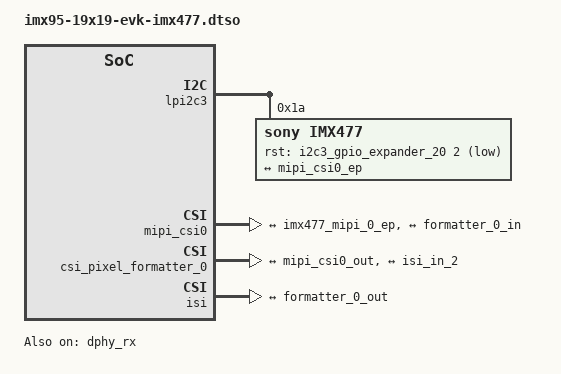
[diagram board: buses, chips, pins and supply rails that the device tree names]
// SPDX-License-Identifier: (GPL-2.0+ OR MIT)
/*
 * Copyright 2025 NXP
*/

/dts-v1/;
/plugin/;


#include "imx95-clock.h"
#include <dt-bindings/gpio/gpio.h>

&lpi2c3 {

	#address-cells = <1>;
	#size-cells = <0>;
	status = "okay";

	imx477: imx477@1a {
		compatible = "sony,imx477";
		reg = <0x1a>;
		csi_id = <0>;
		rst-gpios = <&i2c3_gpio_expander_20 2 GPIO_ACTIVE_LOW>;

		orientation = <2>;
		rotation = <0>;
		status = "okay";

		//clock-names = "xclk";
		//clocks = <&scmi_clk IMX95_CLK_24M>;
		clocks = <&scmi_clk IMX95_CLK_LPI2C3>;

		port {
			imx477_mipi_0_ep: endpoint {
				remote-endpoint = <&mipi_csi0_ep>;
				data-lanes = <1 2 3 4>;
				clock-lanes = <0>;
				link-frequencies = /bits/ 64 <456000000>;
			};
		};
		
	};


};

&dphy_rx {
	status = "okay";
};

&mipi_csi0 { 
    status = "okay";

	ports {
		#address-cells = <1>;
		#size-cells = <0>;
    
		port@0 {
			reg = <0>;
			mipi_csi0_ep: endpoint {
				remote-endpoint = <&imx477_mipi_0_ep>;
				data-lanes = <1 2>;
				clock-lanes = <0>;
			};
		};
		port@1 {
			reg = <1>;
			mipi_csi0_out: endpoint {
				remote-endpoint = <&formatter_0_in>;
			};
		};
	};
};

&csi_pixel_formatter_0 {
	status = "okay";

	ports {
		#address-cells = <1>;
		#size-cells = <0>;

		port@0 {
			reg = <0>;

			formatter_0_in: endpoint {
				remote-endpoint = <&mipi_csi0_out>;
			};
		};

		port@1 {
			reg = <1>;

			formatter_0_out: endpoint {
				remote-endpoint = <&isi_in_2>;
			};
		};
	};
};

&isi {
	status = "okay";

	ports {
		#address-cells = <1>;
		#size-cells = <0>;

		port@2 {
			reg = <2>;

			isi_in_2: endpoint {
				remote-endpoint = <&formatter_0_out>;
			};
		};
	};
};

